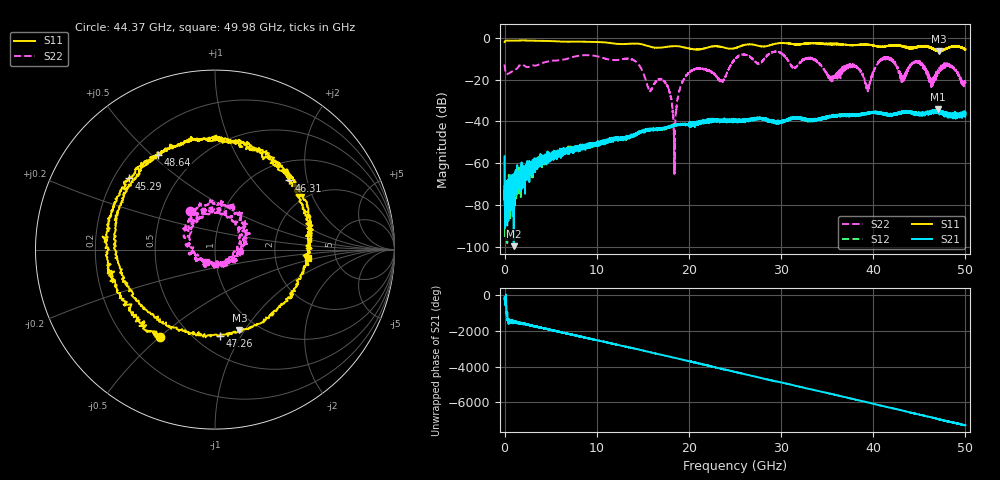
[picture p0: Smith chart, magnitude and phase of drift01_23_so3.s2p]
!Created with skrf (http://scikit-rf.org).
# Hz S RI R 50.0
!freq ReS11 ImS11 ReS21 ImS21 ReS12 ImS12 ReS22 ImS22
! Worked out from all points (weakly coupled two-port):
!   10001 points, 300 kHz to 50 GHz, reference 50 ohm
!   highest |S21| = -34.31 dB at 47 GHz (marker M1); lowest = -99.5 dB at 995.3 MHz (marker M2)
!   lowest |S11| = -6.6 dB at 47.17 GHz (marker M3), VSWR 2.76, Z = 41.2 - j47.3 ohm
!   |S11| at or under -10 dB: nowhere
!   |S22| runs from -65.1 to -6.6 dB; largest |S21 - S12| = 0.0036
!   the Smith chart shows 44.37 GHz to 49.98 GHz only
!   S11 on the Smith chart (normalised r, x): 44.37 GHz: 0.35, -0.50; 45.29 GHz: 0.26, +0.34; 46.31 GHz: 1.38, +1.55; 47.26 GHz: 0.65, -0.81; 48.64 GHz: 0.31, +0.52; 49.98 GHz: 3.11, -0.39
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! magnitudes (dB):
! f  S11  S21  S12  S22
! 300 kHz  -2.1  -56.6  -59.3  -12.8
! 255.3 MHz  -1.4  -76.5  -76.5  -17.5
! 995.3 MHz  -1.5  -99.5  -68.7  -15.7
! 8.335 GHz  -1.9  -51.5  -52.2  -8.5
! 16.67 GHz  -4.8  -43.5  -43.8  -19.9
! 17.74 GHz  -4.3  -42.5  -42.9  -23.9
! 18.44 GHz  -4.1  -41.9  -42.0  -64.7
! 19.9 GHz  -5.1  -41.4  -41.3  -17.2
! 23.59 GHz  -4.5  -39.7  -39.8  -20.6
! 25 GHz  -5.0  -39.6  -39.6  -10.4
! 33.34 GHz  -2.6  -39.4  -39.2  -10.0
! 39.46 GHz  -3.4  -36.0  -36.2  -23.6
! 41.67 GHz  -3.9  -36.9  -36.5  -10.0
! 44.37 GHz  -4.8  -35.9  -35.8  -11.7
! 45.29 GHz  -4.1  -35.6  -36.2  -13.2
! 46.31 GHz  -5.0  -35.1  -35.3  -19.9
! 47 GHz  -6.5  -34.3  -35.3  -15.7
! 47.17 GHz  -6.6  -35.1  -35.6  -14.9
! 47.26 GHz  -6.4  -35.4  -35.5  -15.8
! 48.64 GHz  -4.2  -36.4  -36.8  -14.3
! 49.98 GHz  -5.7  -37.5  -36.7  -21.2
! 50 GHz  -5.5  -36.1  -36.5  -21.4
